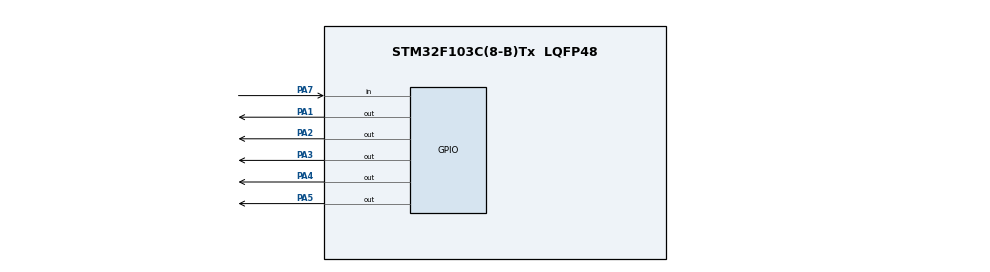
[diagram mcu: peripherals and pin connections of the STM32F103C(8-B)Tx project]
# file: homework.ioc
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Mcu.Family=STM32F1
Mcu.Name=STM32F103C(8-B)Tx
Mcu.Package=LQFP48
NVIC.PriorityGroup=NVIC_PRIORITYGROUP_4
PA1.GPIO_ModeDefaultOutputPP=GPIO_MODE_OUTPUT_PP
PA1.GPIO_PuPd=GPIO_NOPULL
PA1.PinState=GPIO_PIN_RESET
PA1.Signal=GPIO_Output
PA13.Mode=Serial_Wire
PA13.Signal=SYS_JTMS-SWDIO
PA14.Mode=Serial_Wire
PA14.Signal=SYS_JTCK-SWCLK
PA2.Signal=GPIO_Output
PA3.Signal=GPIO_Output
PA4.Signal=GPIO_Output
PA5.Signal=GPIO_Output
PA7.GPIO_PuPd=GPIO_PULLUP
PA7.Signal=GPIO_Input
ProjectManager.HeapSize=0x200
ProjectManager.StackSize=0x400
ProjectManager.TargetToolchain=CMake
RCC.APB1Freq_Value=8000000
RCC.APB2Freq_Value=8000000
board=custom

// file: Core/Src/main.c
/* USER CODE BEGIN Header */
/**
  ******************************************************************************
  * @file           : main.c
  * @brief          : Main program body
  ******************************************************************************
  * @attention
  *
  * Copyright (c) 2026 STMicroelectronics.
  * All rights reserved.
  *
  * This software is licensed under terms that can be found in the LICENSE file
  * in the root directory of this software component.
  * If no LICENSE file comes with this software, it is provided AS-IS.
  *
  ******************************************************************************
  */
/* USER CODE END Header */
#include "main.h"

#include <sys/types.h>

/* USER CODE BEGIN PD */
int control ();
/* USER CODE END PD */

int control(void)
{
  static int key_last = 0;
  int key = (HAL_GPIO_ReadPin(GPIOA, GPIO_PIN_7) == GPIO_PIN_RESET) ? 1 : 0;
  int pressed = 0;

  if (key == 1 && key_last == 0)
  {
    HAL_Delay(20);
    if (HAL_GPIO_ReadPin(GPIOA, GPIO_PIN_7) == GPIO_PIN_RESET)
    {
      pressed = 1;
    }
  }

  key_last = key;
  return pressed;
}

void SystemClock_Config(void);
static void MX_GPIO_Init(void);

int main(void)
{

  /* MCU Configuration--------------------------------------------------------*/

  /* Reset of all peripherals, Initializes the Flash interface and the Systick. */
  HAL_Init();

  /* Configure the system clock */
  SystemClock_Config();

  /* Initialize all configured peripherals */
  MX_GPIO_Init();
  /* USER CODE BEGIN 2 */

  //有感觉吗
  HAL_GPIO_WritePin(GPIOA, GPIO_PIN_1|GPIO_PIN_2|GPIO_PIN_3|GPIO_PIN_4|GPIO_PIN_5, GPIO_PIN_SET);
  HAL_Delay(2000);
  HAL_GPIO_WritePin(GPIOA, GPIO_PIN_1|GPIO_PIN_2|GPIO_PIN_3|GPIO_PIN_4|GPIO_PIN_5, GPIO_PIN_RESET);
  /*控制方向*/
  int direct = 1;
  int pos = 1;
  /* USER CODE END 2 */

  /* Infinite loop */
  /* USER CODE BEGIN WHILE */

  while (1)
  {

    HAL_GPIO_WritePin(GPIOA, 1 << pos, GPIO_PIN_SET);

    /* 亮 160ms，期间每 10ms 查一次按键 */
    for (int j = 0; j < 16; j++)
    {
      HAL_Delay(10);
      if (control() == 1)
      {
        direct = -direct;
        break;
      }
    }

    HAL_GPIO_WritePin(GPIOA, 1 << pos, GPIO_PIN_RESET);

    pos += direct;
    if (pos > 5) pos = 1;
    if (pos < 1) pos = 5;
  }
  /* USER CODE END WHILE */

  }

void SystemClock_Config(void)
{
  RCC_OscInitTypeDef RCC_OscInitStruct = {0};
  RCC_ClkInitTypeDef RCC_ClkInitStruct = {0};

  /** Initializes the RCC Oscillators according to the specified parameters
  * in the RCC_OscInitTypeDef structure.
  */
  RCC_OscInitStruct.OscillatorType = RCC_OSCILLATORTYPE_HSI;
  RCC_OscInitStruct.HSIState = RCC_HSI_ON;
  RCC_OscInitStruct.HSICalibrationValue = RCC_HSICALIBRATION_DEFAULT;
  RCC_OscInitStruct.PLL.PLLState = RCC_PLL_NONE;
  if (HAL_RCC_OscConfig(&RCC_OscInitStruct) != HAL_OK)
  {
    Error_Handler();
  }

  /** Initializes the CPU, AHB and APB buses clocks
  */
  RCC_ClkInitStruct.ClockType = RCC_CLOCKTYPE_HCLK|RCC_CLOCKTYPE_SYSCLK
                              |RCC_CLOCKTYPE_PCLK1|RCC_CLOCKTYPE_PCLK2;
  RCC_ClkInitStruct.SYSCLKSource = RCC_SYSCLKSOURCE_HSI;
  RCC_ClkInitStruct.AHBCLKDivider = RCC_SYSCLK_DIV1;
  RCC_ClkInitStruct.APB1CLKDivider = RCC_HCLK_DIV1;
  RCC_ClkInitStruct.APB2CLKDivider = RCC_HCLK_DIV1;

  if (HAL_RCC_ClockConfig(&RCC_ClkInitStruct, FLASH_LATENCY_0) != HAL_OK)
  {
    Error_Handler();
  }
}

static void MX_GPIO_Init(void)
{
  GPIO_InitTypeDef GPIO_InitStruct = {0};

  /* GPIO Ports Clock Enable */
  __HAL_RCC_GPIOA_CLK_ENABLE();

  /*Configure GPIO pin Output Level */
  HAL_GPIO_WritePin(GPIOA, GPIO_PIN_1|GPIO_PIN_2|GPIO_PIN_3|GPIO_PIN_4
                          |GPIO_PIN_5, GPIO_PIN_RESET);

  /*Configure GPIO pins : PA1 PA2 PA3 PA4
                           PA5 */
  GPIO_InitStruct.Pin = GPIO_PIN_1|GPIO_PIN_2|GPIO_PIN_3|GPIO_PIN_4
                          |GPIO_PIN_5;
  GPIO_InitStruct.Mode = GPIO_MODE_OUTPUT_PP;
  GPIO_InitStruct.Pull = GPIO_NOPULL;
  GPIO_InitStruct.Speed = GPIO_SPEED_FREQ_LOW;
  HAL_GPIO_Init(GPIOA, &GPIO_InitStruct);

  /*Configure GPIO pin : PA7 */
  GPIO_InitStruct.Pin = GPIO_PIN_7;
  GPIO_InitStruct.Mode = GPIO_MODE_INPUT;
  GPIO_InitStruct.Pull = GPIO_PULLUP;
  HAL_GPIO_Init(GPIOA, &GPIO_InitStruct);

}

void Error_Handler(void)
{
  __disable_irq();
  while (1)
  {
  }
}
